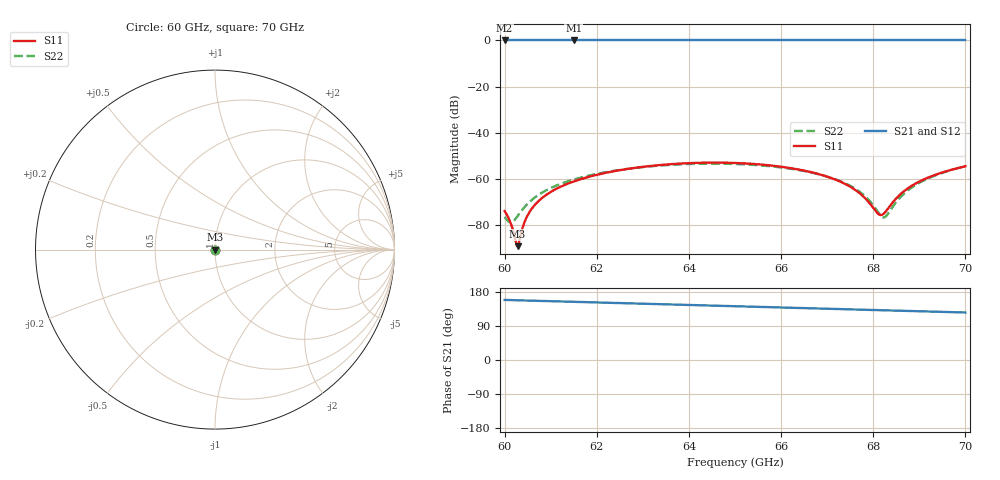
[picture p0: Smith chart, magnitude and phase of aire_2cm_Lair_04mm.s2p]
! TOUCHSTONE file generated by CST MICROWAVE STUDIO
! Date and time: Sun Mar  3 12:20:17 2024
! Project name: aire_def.cst
! Parameters = {d=8.6}
! Header version: 2018
! Port assignment regex: !\s*Touchstone port\s*([0-9]+)\s*=\s*(CST MWS port|CST DS port)\s*([0-9]+|Zmin|Zmax)\s*\(\"(.*)\"\)(\s*mode\s*([0-9]+))?.*
! Touchstone port assignment:
! Touchstone port 1 = CST MWS port 1 ("")
! Touchstone port 2 = CST MWS port 2 ("")
# GHz S MA R 376.7
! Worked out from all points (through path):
!   1001 points, 60 GHz to 70 GHz, reference 376.7 ohm
!   highest |S21| = 0.00 dB at 61.5 GHz (marker M1); lowest = 0.0 dB at 60 GHz (marker M2)
!   group delay of S21, straight-line fit = 9.23 ps
!   lowest |S11| = -89.3 dB at 60.28 GHz (marker M3), VSWR 1.00, Z = 377 + j0.00869 ohm
!   |S11| at or under -10 dB: start of sweep to end of sweep
!   |S22| runs from -79.0 to -53.5 dB; largest |S21 - S12| = 0.00082
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60  0.000198 -117.6  0.9996 158.5  1 158.5  0.0001479 -66.2
60.14  0.0001033 -127.3  0.9996 158.1  1 158.1  0.0001122 -23.3
60.28  3.43e-05 160.4  0.9997 157.6  1 157.6  0.000154 17.3
60.4  9.221e-05 93.3  0.9997 157.2  1 157.2  0.0002221 33.5
60.61  0.0002374 79.2  0.9998 156.5  1 156.5  0.0003595 45.2
60.84  0.0004006 75.2  0.9998 155.7  1 155.7  0.0005161 50.4
61.5  0.0008693 70.6  1 153.5  1 153.5  0.0009586 54.6
61.67  0.0009877 69.7  1 153.0  1 153.0  0.001068 54.9
62.43  0.001487 66.2  1 150.4  1 150.4  0.001513 54.4
63.34  0.001964 61.9  1 147.4  1 147.4  0.001916 52.1
65  0.002192 54.2  1 141.9  1 141.9  0.002085 45.4
66.67  0.001373 50.3  1 136.3  0.9997 136.3  0.001354 36.2
67.19  0.0009463 52.0  1 134.6  0.9996 134.6  0.0009613 31.8
67.59  0.0005879 57.3  1 133.3  0.9996 133.3  0.0006216 25.6
67.87  0.0003364 69.7  1 132.4  0.9996 132.3  0.000374 15.5
68.13  0.0001665 117.9  1 131.5  0.9996 131.5  0.0001718 -19.7
68.23  0.0001747 151.9  1 131.2  0.9996 131.1  0.0001443 -55.2
68.34  0.0002392 177.5  1 130.8  0.9996 130.8  0.000185 -92.0
68.61  0.0004791 -159.7  1 129.9  0.9996 129.9  0.0004176 -123.7
68.94  0.000805 -151.7  1 128.8  0.9996 128.8  0.0007508 -133.6
69.41  0.001277 -147.3  1 127.3  0.9997 127.2  0.001245 -139.0
70  0.001857 -144.7  1 125.3  0.9999 125.3  0.001873 -142.2
